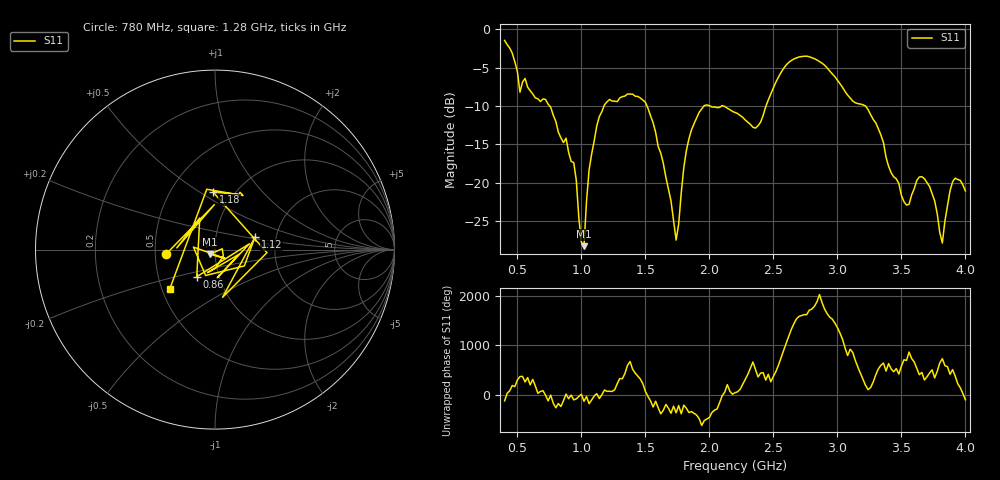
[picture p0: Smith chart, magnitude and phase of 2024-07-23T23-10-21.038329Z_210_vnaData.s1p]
!Created with skrf (http://scikit-rf.org).
# Hz S RI R 50.0
!freq ReS11 ImS11
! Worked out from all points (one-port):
!   181 points, 400 MHz to 4 GHz, reference 50 ohm
!   lowest |S11| = -28.3 dB at 1.02 GHz (marker M1), VSWR 1.08, Z = 47.2 - j2.45 ohm
!   |S11| at or under -10 dB: 751.1 MHz to 1.177 GHz (426 MHz wide, 44.2 % of centre); 1.512 GHz to 1.958 GHz (446.3 MHz wide, 25.7 % of centre); 3.217 GHz to end of sweep (the widest 3 of 5)
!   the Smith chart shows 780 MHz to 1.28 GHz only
!   S11 on the Smith chart (normalised r, x): 780 MHz: 0.57, -0.03; 860 MHz: 0.78, -0.24; 1.12 GHz: 1.55, +0.23; 1.18 GHz: 0.80, +0.57; 1.28 GHz: 0.55, -0.27
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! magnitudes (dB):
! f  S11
! 400 MHz  -1.5
! 520 MHz  -8.2
! 560 MHz  -6.4
! 780 MHz  -11.2
! 860 MHz  -14.8
! 940 MHz  -17.4
! 1.02 GHz  -28.3
! 1.06 GHz  -18.4
! 1.12 GHz  -12.6
! 1.18 GHz  -9.9
! 1.28 GHz  -9.5
! 1.3 GHz  -9.0
! 1.5 GHz  -9.5
! 1.64 GHz  -17.5
! 1.74 GHz  -27.5
! 1.76 GHz  -25.4
! 1.82 GHz  -15.8
! 1.92 GHz  -10.8
! 2.2 GHz  -10.9
! 2.36 GHz  -12.9
! 2.66 GHz  -3.9
! 3.1 GHz  -9.0
! 3.3 GHz  -12.2
! 3.56 GHz  -22.8
! 3.68 GHz  -19.5
! 3.82 GHz  -27.9
! 3.9 GHz  -19.9
! 4 GHz  -21.1
